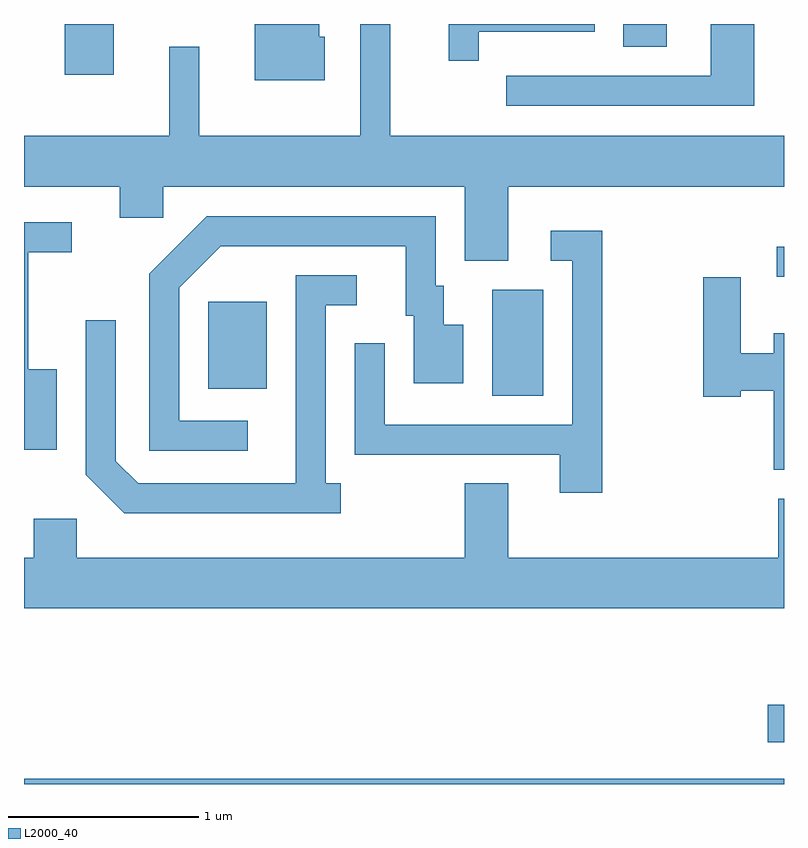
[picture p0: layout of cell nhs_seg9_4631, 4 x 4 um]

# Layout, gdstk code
import gdstk
lib = gdstk.Library(unit=1e-6, precision=1e-09)
def R(c, l, rs):  # rectangles x0, y0, x1, y1
    for r in rs: c.add(gdstk.rectangle(r[:2], r[2:], *l))
def P(c, l, *ps):  # polygons
    for p in ps: c.add(gdstk.Polygon(p, *l))
L2000_40 = (2000, 40)

nhs_seg9_4631 = lib.new_cell('nhs_seg9_4631')
R(nhs_seg9_4631, L2000_40, [(321.611,2006.432,325.611,2006.459), (325.526,2006.651,325.611,2006.849), (324.076,2008.476,324.344,2009.034), (322.581,2008.511,322.889,2008.969), (325.573,2009.101,325.611,2009.259), (321.826,2010.166,322.084,2010.432), (324.766,2010.311,324.994,2010.432)])
P(nhs_seg9_4631, L2000_40, [(323.194,2010.364),(323.164,2010.364),(323.164,2010.432),(322.826,2010.432),(322.826,2010.136),(323.194,2010.136)],
  [(324.004,2010.391),(324.614,2010.391),(324.614,2010.432),(323.846,2010.432),(323.846,2010.238),(324.004,2010.238)],
  [(324.159,2009.576),(325.611,2009.576),(325.611,2009.844),(323.539,2009.844),(323.539,2010.432),(323.381,2010.432),(323.381,2009.844),(322.534,2009.844),(322.534,2010.313),(322.376,2010.313),(322.376,2009.844),(321.611,2009.844),(321.611,2009.576),(322.116,2009.576),(322.116,2009.411),(322.344,2009.411),(322.344,2009.576),(323.931,2009.576),(323.931,2009.186),(324.159,2009.186)],
  [(325.454,2010.432),(325.226,2010.432),(325.226,2010.159),(324.148,2010.159),(324.148,2010.001),(325.454,2010.001)],
  [(322.788,2008.344),(322.429,2008.344),(322.429,2009.044),(322.647,2009.261),(323.621,2009.261),(323.621,2008.896),(323.661,2008.896),(323.661,2008.541),(323.924,2008.541),(323.924,2008.849),(323.819,2008.849),(323.819,2009.054),(323.779,2009.054),(323.779,2009.419),(322.574,2009.419),(322.271,2009.117),(322.271,2008.186),(322.788,2008.186)],
  [(321.784,2008.614),(321.634,2008.614),(321.634,2009.231),(321.863,2009.231),(321.863,2009.389),(321.611,2009.389),(321.611,2008.191),(321.784,2008.191)],
  [(324.654,2009.344),(324.383,2009.344),(324.383,2009.186),(324.496,2009.186),(324.496,2008.324),(323.509,2008.324),(323.509,2008.753),(323.351,2008.753),(323.351,2008.166),(324.431,2008.166),(324.431,2007.966),(324.654,2007.966)],
  [(323.278,2008.014),(323.199,2008.014),(323.199,2008.951),(323.363,2008.951),(323.363,2009.109),(323.041,2009.109),(323.041,2008.014),(322.212,2008.014),(322.094,2008.132),(322.094,2008.873),(321.936,2008.873),(321.936,2008.059),(322.139,2007.856),(323.278,2007.856)],
  [(325.611,2008.804),(325.556,2008.804),(325.556,2008.699),(325.384,2008.699),(325.384,2009.099),(325.186,2009.099),(325.186,2008.471),(325.384,2008.471),(325.384,2008.501),(325.556,2008.501),(325.556,2008.086),(325.611,2008.086)],
  [(325.611,2007.934),(325.581,2007.934),(325.581,2007.624),(324.159,2007.624),(324.159,2008.014),(323.931,2008.014),(323.931,2007.624),(321.889,2007.624),(321.889,2007.829),(321.661,2007.829),(321.661,2007.624),(321.611,2007.624),(321.611,2007.356),(325.611,2007.356)])

lib.write_gds('nhs_seg9_4631.gds')
